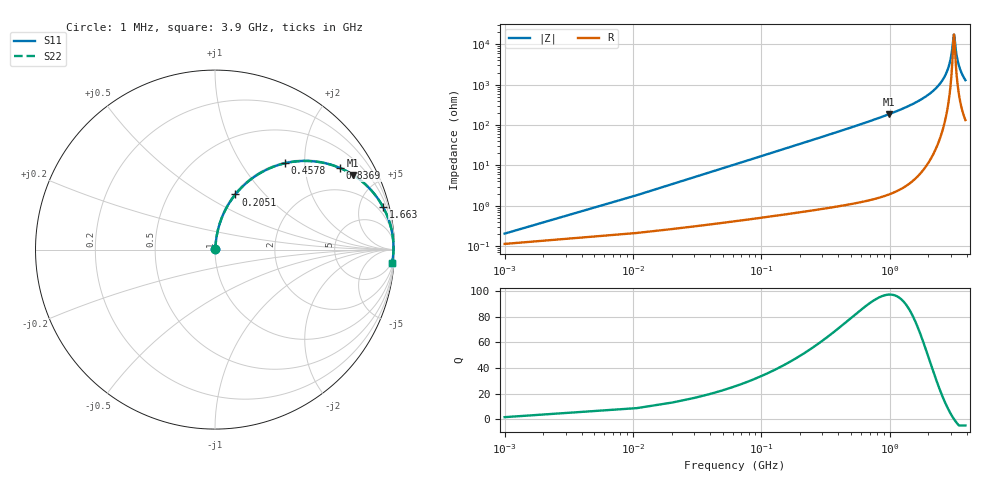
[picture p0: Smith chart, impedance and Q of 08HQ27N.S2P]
! Coilcraft 0805HQ-27N Chip Inductor
! 19 June 2002
# MHZ S MA R 50
!Freq  MagS11  AngS11  MagS21  AngS21  MagS12  AngS12  MagS22  AngS22
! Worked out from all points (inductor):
!   403 points, 1 MHz to 3.9 GHz, reference 50 ohm
!   read as one part in series: L = 27 nH near 20.44 MHz
!   highest Q = 97.5 at 982.7 MHz (marker M1), where L = 29.9 nH
!   self-resonance near 3.17 GHz
!   S11 on the Smith chart (normalised r, x): 1 MHz: 1.00, +0.00; 205.1 MHz: 1.01, +0.70; 457.8 MHz: 1.02, +1.59; 836.9 MHz: 1.03, +3.05; 1.663 GHz: 1.11, +7.77; 3.9 GHz: 4, -26
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1  0.002038 56.1  0.9989 -0.1  0.9989 -0.1  0.002038 56.1
30.16  0.05104 83.6  0.9956 -2.9  0.9956 -2.9  0.05104 83.6
49.6  0.08364 82.7  0.9928 -4.8  0.9928 -4.8  0.08364 82.7
107.92  0.1795 78.0  0.9787 -10.3  0.9787 -10.3  0.1795 78.0
205.12  0.3279 69.7  0.9382 -19.1  0.9382 -19.1  0.3279 69.7
457.84  0.6175 51.1  0.7785 -38.1  0.7785 -38.1  0.6175 51.1
652.24  0.7519 40.6  0.6508 -48.8  0.6508 -48.8  0.7519 40.6
836.92  0.8324 33.1  0.5455 -56.3  0.5455 -56.3  0.8324 33.1
982.72  0.8753 28.3  0.4747 -61.1  0.4747 -61.1  0.8753 28.3
1303.48  0.9326 20.5  0.3507 -68.8  0.3507 -68.8  0.9326 20.5
1663.12  0.9652 14.4  0.2483 -74.8  0.2483 -74.8  0.9652 14.4
1954.72  0.9795 10.6  0.1835 -78.3  0.1835 -78.3  0.9795 10.6
2605.96  0.9929 4.2  0.07359 -82.4  0.07359 -82.4  0.9929 4.2
2810.08  0.9942 2.6  0.04563 -81.4  0.04563 -81.4  0.9942 2.6
2955.88  0.9946 1.5  0.02713 -77.7  0.02713 -77.7  0.9946 1.5
3053.08  0.9946 0.8  0.01563 -69.3  0.01563 -69.3  0.9946 0.8
3169.72  0.9944 0.0  0.005679 -8.7  0.005679 -8.7  0.9944 0.0
3198.88  0.9943 -0.1  0.006219 23.7  0.006219 23.7  0.9943 -0.1
3257.2  0.9941 -0.5  0.01088 57.0  0.01088 57.0  0.9941 -0.5
3354.4  0.9937 -1.1  0.02092 71.9  0.02092 71.9  0.9937 -1.1
3480.76  0.993 -1.9  0.03426 77.2  0.03426 77.2  0.993 -1.9
3900  0.9893 -4.3  0.0761 79.8  0.0761 79.8  0.9893 -4.3
